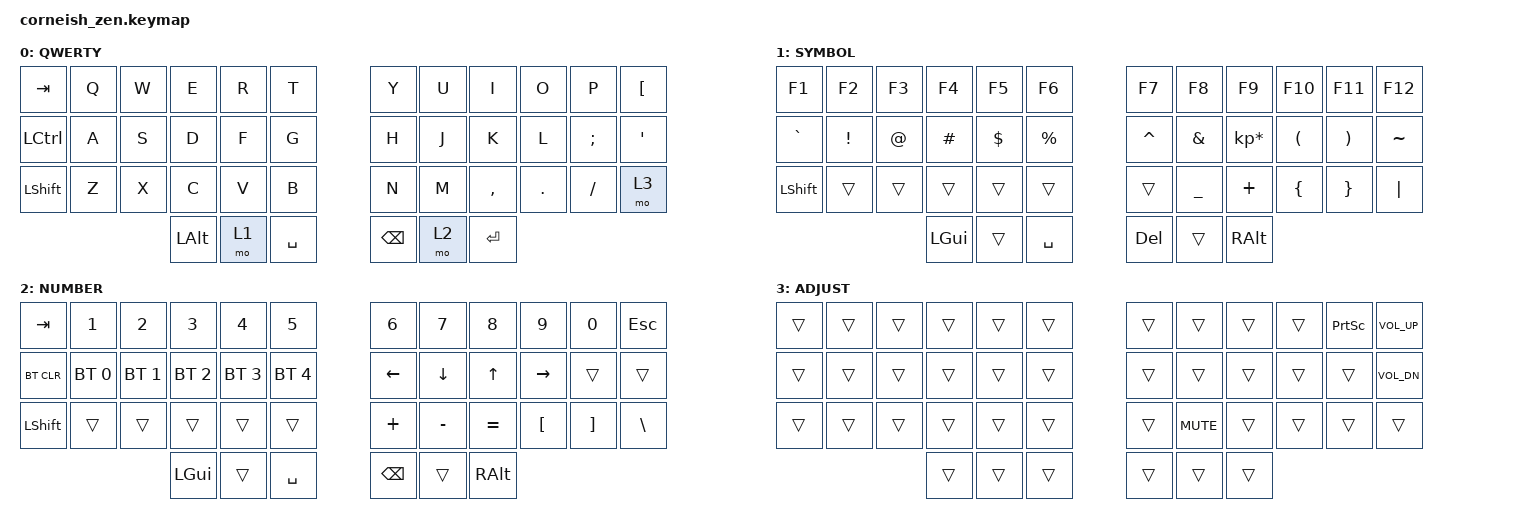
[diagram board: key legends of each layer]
/*
*
* Copyright (c) 2021 Darryl deHaan
* SPDX-License-Identifier: MIT
*
*/

#include <behaviors.dtsi>
#include <dt-bindings/zmk/keys.h>
#include <dt-bindings/zmk/bt.h>

/ {
    chosen {
        zmk,matrix_transform = &default_transform;
        // zmk,matrix_transform = &five_column_transform;
    };
};

/ {
    keymap {
        compatible = "zmk,keymap";

        default_layer {
            label = "QWERTY";
// --------------------------------------------------------------------------------
// |  TAB |  Q  |  W  |  E  |  R  |  T  |   |  Y  |  U  |  I  |  O  |  P  |  [   |
// | CTRL |  A  |  S  |  D  |  F  |  G  |   |  H  |  J  |  K  |  L  |  ;  |  '   |
// | SHFT |  Z  |  X  |  C  |  V  |  B  |   |  N  |  M  |  ,  |  .  |  /  | ADJ  |
//                    | ALT | LWR | SPC |   | BSPC| RSE | ENT |
            bindings = <
&kp TAB   &kp Q &kp W &kp E    &kp R &kp T     &kp Y    &kp U &kp I     &kp O   &kp P    &kp LBKT
&kp LCTRL &kp A &kp S &kp D    &kp F &kp G     &kp H    &kp J &kp K     &kp L   &kp SEMI &kp SQT
&kp LSHFT &kp Z &kp X &kp C    &kp V &kp B     &kp N    &kp M &kp COMMA &kp DOT &kp FSLH &mo 3
                      &kp LALT &mo 1 &kp SPACE &kp BSPC &mo 2 &kp ENTER
            >;
        };

        lower_layer {
            label = "SYMBOL";
// -----------------------------------------------------------------------------------------
// | F1   | F2  |  F3 | F4  |  F5 | F6  |   | F7  | F8  | F9  | F10 | F1  | F12 |
// |  `   |  !  |  @  |  #  |  $  |  %  |   |  ^  |  &  |  *  |  (  |  )  |  ~  |
// | SHFT |     |     |     |     |     |   |     |  _  |  +  |  {  |  }  | "|" |
//                    | GUI |     | SPC |   | DEL |     | ALT |
            bindings = <
&kp F1    &kp F2   &kp F3 &kp F4   &kp F5   &kp F6      &kp F7    &kp F8    &kp F9          &kp F10  &kp F11  &kp F12
&kp GRAVE &kp EXCL &kp AT &kp HASH &kp DLLR &kp PRCNT   &kp CARET &kp AMPS  &kp KP_MULTIPLY &kp LPAR &kp RPAR &kp TILDE
&kp LSHFT &trans   &trans &trans   &trans   &trans      &trans    &kp UNDER &kp PLUS        &kp LBRC &kp RBRC &kp PIPE
                          &kp LGUI &trans   &kp SPACE   &kp DEL   &trans    &kp RALT
            >;
        };

        raise_layer {
            label = "NUMBER";
// -----------------------------------------------------------------------------------------
// |  TAB |  1  |  2  |  3  |  4  |  5  |   |  6  |  7  |  8  |  9  |  0  | ESC  |
// | BTCLR| BT1 | BT2 | BT3 | BT4 | BT5 |   | LFT | DWN |  UP | RGT |     |      |
// | SHFT |     |     |     |     |     |   |  +  |  -  |  =  |  [  |  ]  |   \  |
//                    | GUI |     | SPC |   | BSPC|     | ALT |
            bindings = <
&kp TAB    &kp N1       &kp N2       &kp N3       &kp N4       &kp N5         &kp N6   &kp N7    &kp N8    &kp N9    &kp N0   &kp ESC
&bt BT_CLR &bt BT_SEL 0 &bt BT_SEL 1 &bt BT_SEL 2 &bt BT_SEL 3 &bt BT_SEL 4   &kp LEFT &kp DOWN  &kp UP    &kp RIGHT &trans   &trans
&kp LSHFT  &trans       &trans       &trans       &trans       &trans         &kp PLUS &kp MINUS &kp EQUAL &kp LBKT  &kp RBKT &kp BSLH
                                     &kp LGUI     &trans       &kp SPACE      &kp BSPC &trans    &kp RALT
            >;
        };


        adj_layer {
            label = "ADJUST";
// -----------------------------------------------------------------------------------------
// |      |     |     |     |     |     |   |     |      |     |     | PRNT | VOL+ |
// |      |     |     |     |     |     |   |     |      |     |     |      | VOL- |
// |      |     |     |     |     |     |   |     | MUTE |     |     |      |      |
//                    |     |     |     |   |     |      |     |
            bindings = <
&trans &trans &trans &trans &trans &trans &trans &trans     &trans &trans &kp PSCRN &kp C_VOL_UP
&trans &trans &trans &trans &trans &trans &trans &trans     &trans &trans &trans    &kp C_VOL_DN
&trans &trans &trans &trans &trans &trans &trans &kp C_MUTE &trans &trans &trans    &trans
                     &trans &trans &trans &trans &trans     &trans
            >;
        };
    };
};
